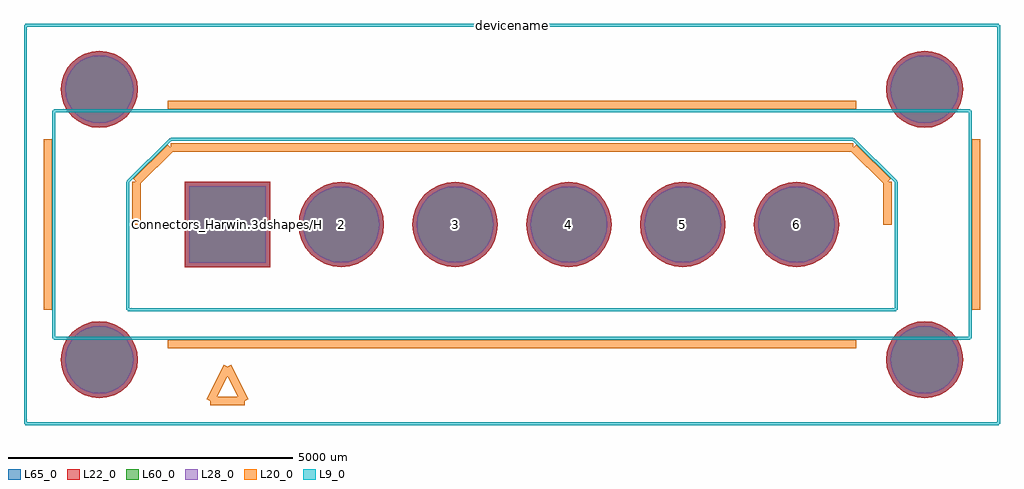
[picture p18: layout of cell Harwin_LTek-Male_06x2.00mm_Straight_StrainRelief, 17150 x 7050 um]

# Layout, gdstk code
import gdstk
lib = gdstk.Library(unit=1e-6, precision=1e-09)
def R(c, l, rs):  # rectangles x0, y0, x1, y1
    for r in rs: c.add(gdstk.rectangle(r[:2], r[2:], *l))
def P(c, l, *ps):  # polygons
    for p in ps: c.add(gdstk.Polygon(p, *l))
L9_0 = (9, 0)
L20_0 = (20, 0)
L22_0 = (22, 0)
L28_0 = (28, 0)
L60_0 = (60, 0)
L65_0 = (65, 0)

harwin_ltek_male_06x2_00 = lib.new_cell('Harwin_LTek-Male_06x2.00mm_Straight_StrainRelief')
R(harwin_ltek_male_06x2_00, L22_0, [(-750,-750,750,750)])
P(harwin_ltek_male_06x2_00, L22_0, [(12925,-2375),(12912.03,-2243.314),(12873.619,-2116.689),(12811.242,-1999.99),(12727.297,-1897.703),(12625.01,-1813.758),(12508.311,-1751.381),(12381.686,-1712.97),(12250,-1700),(12118.314,-1712.97),(11991.689,-1751.381),(11874.99,-1813.758),(11772.703,-1897.703),(11688.758,-1999.99),(11626.381,-2116.689),(11587.97,-2243.314),(11575,-2375),(11587.97,-2506.686),(11626.381,-2633.311),(11688.758,-2750.01),(11772.703,-2852.297),(11874.99,-2936.242),(11991.689,-2998.619),(12118.314,-3037.03),(12250,-3050),(12381.686,-3037.03),(12508.311,-2998.619),(12625.01,-2936.242),(12727.297,-2852.297),(12811.242,-2750.01),(12873.619,-2633.311),(12912.03,-2506.686)],
  [(12925,2375),(12912.03,2506.686),(12873.619,2633.311),(12811.242,2750.01),(12727.297,2852.297),(12625.01,2936.242),(12508.311,2998.619),(12381.686,3037.03),(12250,3050),(12118.314,3037.03),(11991.689,2998.619),(11874.99,2936.242),(11772.703,2852.297),(11688.758,2750.01),(11626.381,2633.311),(11587.97,2506.686),(11575,2375),(11587.97,2243.314),(11626.381,2116.689),(11688.758,1999.99),(11772.703,1897.703),(11874.99,1813.758),(11991.689,1751.381),(12118.314,1712.97),(12250,1700),(12381.686,1712.97),(12508.311,1751.381),(12625.01,1813.758),(12727.297,1897.703),(12811.242,1999.99),(12873.619,2116.689),(12912.03,2243.314)],
  [(-1575,-2375),(-1587.97,-2243.314),(-1626.381,-2116.689),(-1688.758,-1999.99),(-1772.703,-1897.703),(-1874.99,-1813.758),(-1991.689,-1751.381),(-2118.314,-1712.97),(-2250,-1700),(-2381.686,-1712.97),(-2508.311,-1751.381),(-2625.01,-1813.758),(-2727.297,-1897.703),(-2811.242,-1999.99),(-2873.619,-2116.689),(-2912.03,-2243.314),(-2925,-2375),(-2912.03,-2506.686),(-2873.619,-2633.311),(-2811.242,-2750.01),(-2727.297,-2852.297),(-2625.01,-2936.242),(-2508.311,-2998.619),(-2381.686,-3037.03),(-2250,-3050),(-2118.314,-3037.03),(-1991.689,-2998.619),(-1874.99,-2936.242),(-1772.703,-2852.297),(-1688.758,-2750.01),(-1626.381,-2633.311),(-1587.97,-2506.686)],
  [(-1575,2375),(-1587.97,2506.686),(-1626.381,2633.311),(-1688.758,2750.01),(-1772.703,2852.297),(-1874.99,2936.242),(-1991.689,2998.619),(-2118.314,3037.03),(-2250,3050),(-2381.686,3037.03),(-2508.311,2998.619),(-2625.01,2936.242),(-2727.297,2852.297),(-2811.242,2750.01),(-2873.619,2633.311),(-2912.03,2506.686),(-2925,2375),(-2912.03,2243.314),(-2873.619,2116.689),(-2811.242,1999.99),(-2727.297,1897.703),(-2625.01,1813.758),(-2508.311,1751.381),(-2381.686,1712.97),(-2250,1700),(-2118.314,1712.97),(-1991.689,1751.381),(-1874.99,1813.758),(-1772.703,1897.703),(-1688.758,1999.99),(-1626.381,2116.689),(-1587.97,2243.314)],
  [(10750,0),(10735.589,146.318),(10692.91,287.013),(10623.602,416.678),(10530.33,530.33),(10416.678,623.602),(10287.013,692.91),(10146.318,735.589),(10000,750),(9853.682,735.589),(9712.987,692.91),(9583.322,623.602),(9469.67,530.33),(9376.398,416.678),(9307.09,287.013),(9264.411,146.318),(9250,0),(9264.411,-146.318),(9307.09,-287.013),(9376.398,-416.678),(9469.67,-530.33),(9583.322,-623.602),(9712.987,-692.91),(9853.682,-735.589),(10000,-750),(10146.318,-735.589),(10287.013,-692.91),(10416.678,-623.602),(10530.33,-530.33),(10623.602,-416.678),(10692.91,-287.013),(10735.589,-146.318)],
  [(8750,0),(8735.589,146.318),(8692.91,287.013),(8623.602,416.678),(8530.33,530.33),(8416.678,623.602),(8287.013,692.91),(8146.318,735.589),(8000,750),(7853.682,735.589),(7712.987,692.91),(7583.322,623.602),(7469.67,530.33),(7376.398,416.678),(7307.09,287.013),(7264.411,146.318),(7250,0),(7264.411,-146.318),(7307.09,-287.013),(7376.398,-416.678),(7469.67,-530.33),(7583.322,-623.602),(7712.987,-692.91),(7853.682,-735.589),(8000,-750),(8146.318,-735.589),(8287.013,-692.91),(8416.678,-623.602),(8530.33,-530.33),(8623.602,-416.678),(8692.91,-287.013),(8735.589,-146.318)],
  [(6750,0),(6735.589,146.318),(6692.91,287.013),(6623.602,416.678),(6530.33,530.33),(6416.678,623.602),(6287.013,692.91),(6146.318,735.589),(6000,750),(5853.682,735.589),(5712.987,692.91),(5583.322,623.602),(5469.67,530.33),(5376.398,416.678),(5307.09,287.013),(5264.411,146.318),(5250,0),(5264.411,-146.318),(5307.09,-287.013),(5376.398,-416.678),(5469.67,-530.33),(5583.322,-623.602),(5712.987,-692.91),(5853.682,-735.589),(6000,-750),(6146.318,-735.589),(6287.013,-692.91),(6416.678,-623.602),(6530.33,-530.33),(6623.602,-416.678),(6692.91,-287.013),(6735.589,-146.318)],
  [(4750,0),(4735.589,146.318),(4692.91,287.013),(4623.602,416.678),(4530.33,530.33),(4416.678,623.602),(4287.013,692.91),(4146.318,735.589),(4000,750),(3853.682,735.589),(3712.987,692.91),(3583.322,623.602),(3469.67,530.33),(3376.398,416.678),(3307.09,287.013),(3264.411,146.318),(3250,0),(3264.411,-146.318),(3307.09,-287.013),(3376.398,-416.678),(3469.67,-530.33),(3583.322,-623.602),(3712.987,-692.91),(3853.682,-735.589),(4000,-750),(4146.318,-735.589),(4287.013,-692.91),(4416.678,-623.602),(4530.33,-530.33),(4623.602,-416.678),(4692.91,-287.013),(4735.589,-146.318)],
  [(2750,0),(2735.589,146.318),(2692.91,287.013),(2623.602,416.678),(2530.33,530.33),(2416.678,623.602),(2287.013,692.91),(2146.318,735.589),(2000,750),(1853.682,735.589),(1712.987,692.91),(1583.322,623.602),(1469.67,530.33),(1376.398,416.678),(1307.09,287.013),(1264.411,146.318),(1250,0),(1264.411,-146.318),(1307.09,-287.013),(1376.398,-416.678),(1469.67,-530.33),(1583.322,-623.602),(1712.987,-692.91),(1853.682,-735.589),(2000,-750),(2146.318,-735.589),(2287.013,-692.91),(2416.678,-623.602),(2530.33,-530.33),(2623.602,-416.678),(2692.91,-287.013),(2735.589,-146.318)])
R(harwin_ltek_male_06x2_00, L28_0, [(-675,-675,675,675)])
P(harwin_ltek_male_06x2_00, L28_0, [(12850,-2375),(12838.471,-2257.946),(12804.328,-2145.39),(12748.882,-2041.658),(12674.264,-1950.736),(12583.342,-1876.118),(12479.61,-1820.672),(12367.054,-1786.529),(12250,-1775),(12132.946,-1786.529),(12020.39,-1820.672),(11916.658,-1876.118),(11825.736,-1950.736),(11751.118,-2041.658),(11695.672,-2145.39),(11661.529,-2257.946),(11650,-2375),(11661.529,-2492.054),(11695.672,-2604.61),(11751.118,-2708.342),(11825.736,-2799.264),(11916.658,-2873.882),(12020.39,-2929.328),(12132.946,-2963.471),(12250,-2975),(12367.054,-2963.471),(12479.61,-2929.328),(12583.342,-2873.882),(12674.264,-2799.264),(12748.882,-2708.342),(12804.328,-2604.61),(12838.471,-2492.054)],
  [(12850,2375),(12838.471,2492.054),(12804.328,2604.61),(12748.882,2708.342),(12674.264,2799.264),(12583.342,2873.882),(12479.61,2929.328),(12367.054,2963.471),(12250,2975),(12132.946,2963.471),(12020.39,2929.328),(11916.658,2873.882),(11825.736,2799.264),(11751.118,2708.342),(11695.672,2604.61),(11661.529,2492.054),(11650,2375),(11661.529,2257.946),(11695.672,2145.39),(11751.118,2041.658),(11825.736,1950.736),(11916.658,1876.118),(12020.39,1820.672),(12132.946,1786.529),(12250,1775),(12367.054,1786.529),(12479.61,1820.672),(12583.342,1876.118),(12674.264,1950.736),(12748.882,2041.658),(12804.328,2145.39),(12838.471,2257.946)],
  [(-1650,-2375),(-1661.529,-2257.946),(-1695.672,-2145.39),(-1751.118,-2041.658),(-1825.736,-1950.736),(-1916.658,-1876.118),(-2020.39,-1820.672),(-2132.946,-1786.529),(-2250,-1775),(-2367.054,-1786.529),(-2479.61,-1820.672),(-2583.342,-1876.118),(-2674.264,-1950.736),(-2748.882,-2041.658),(-2804.328,-2145.39),(-2838.471,-2257.946),(-2850,-2375),(-2838.471,-2492.054),(-2804.328,-2604.61),(-2748.882,-2708.342),(-2674.264,-2799.264),(-2583.342,-2873.882),(-2479.61,-2929.328),(-2367.054,-2963.471),(-2250,-2975),(-2132.946,-2963.471),(-2020.39,-2929.328),(-1916.658,-2873.882),(-1825.736,-2799.264),(-1751.118,-2708.342),(-1695.672,-2604.61),(-1661.529,-2492.054)],
  [(-1650,2375),(-1661.529,2492.054),(-1695.672,2604.61),(-1751.118,2708.342),(-1825.736,2799.264),(-1916.658,2873.882),(-2020.39,2929.328),(-2132.946,2963.471),(-2250,2975),(-2367.054,2963.471),(-2479.61,2929.328),(-2583.342,2873.882),(-2674.264,2799.264),(-2748.882,2708.342),(-2804.328,2604.61),(-2838.471,2492.054),(-2850,2375),(-2838.471,2257.946),(-2804.328,2145.39),(-2748.882,2041.658),(-2674.264,1950.736),(-2583.342,1876.118),(-2479.61,1820.672),(-2367.054,1786.529),(-2250,1775),(-2132.946,1786.529),(-2020.39,1820.672),(-1916.658,1876.118),(-1825.736,1950.736),(-1751.118,2041.658),(-1695.672,2145.39),(-1661.529,2257.946)],
  [(10675,0),(10662.03,131.686),(10623.619,258.311),(10561.242,375.01),(10477.297,477.297),(10375.01,561.242),(10258.311,623.619),(10131.686,662.03),(10000,675),(9868.314,662.03),(9741.689,623.619),(9624.99,561.242),(9522.703,477.297),(9438.758,375.01),(9376.381,258.311),(9337.97,131.686),(9325,0),(9337.97,-131.686),(9376.381,-258.311),(9438.758,-375.01),(9522.703,-477.297),(9624.99,-561.242),(9741.689,-623.619),(9868.314,-662.03),(10000,-675),(10131.686,-662.03),(10258.311,-623.619),(10375.01,-561.242),(10477.297,-477.297),(10561.242,-375.01),(10623.619,-258.311),(10662.03,-131.686)],
  [(8675,0),(8662.03,131.686),(8623.619,258.311),(8561.242,375.01),(8477.297,477.297),(8375.01,561.242),(8258.311,623.619),(8131.686,662.03),(8000,675),(7868.314,662.03),(7741.689,623.619),(7624.99,561.242),(7522.703,477.297),(7438.758,375.01),(7376.381,258.311),(7337.97,131.686),(7325,0),(7337.97,-131.686),(7376.381,-258.311),(7438.758,-375.01),(7522.703,-477.297),(7624.99,-561.242),(7741.689,-623.619),(7868.314,-662.03),(8000,-675),(8131.686,-662.03),(8258.311,-623.619),(8375.01,-561.242),(8477.297,-477.297),(8561.242,-375.01),(8623.619,-258.311),(8662.03,-131.686)],
  [(6675,0),(6662.03,131.686),(6623.619,258.311),(6561.242,375.01),(6477.297,477.297),(6375.01,561.242),(6258.311,623.619),(6131.686,662.03),(6000,675),(5868.314,662.03),(5741.689,623.619),(5624.99,561.242),(5522.703,477.297),(5438.758,375.01),(5376.381,258.311),(5337.97,131.686),(5325,0),(5337.97,-131.686),(5376.381,-258.311),(5438.758,-375.01),(5522.703,-477.297),(5624.99,-561.242),(5741.689,-623.619),(5868.314,-662.03),(6000,-675),(6131.686,-662.03),(6258.311,-623.619),(6375.01,-561.242),(6477.297,-477.297),(6561.242,-375.01),(6623.619,-258.311),(6662.03,-131.686)],
  [(4675,0),(4662.03,131.686),(4623.619,258.311),(4561.242,375.01),(4477.297,477.297),(4375.01,561.242),(4258.311,623.619),(4131.686,662.03),(4000,675),(3868.314,662.03),(3741.689,623.619),(3624.99,561.242),(3522.703,477.297),(3438.758,375.01),(3376.381,258.311),(3337.97,131.686),(3325,0),(3337.97,-131.686),(3376.381,-258.311),(3438.758,-375.01),(3522.703,-477.297),(3624.99,-561.242),(3741.689,-623.619),(3868.314,-662.03),(4000,-675),(4131.686,-662.03),(4258.311,-623.619),(4375.01,-561.242),(4477.297,-477.297),(4561.242,-375.01),(4623.619,-258.311),(4662.03,-131.686)],
  [(2675,0),(2662.03,131.686),(2623.619,258.311),(2561.242,375.01),(2477.297,477.297),(2375.01,561.242),(2258.311,623.619),(2131.686,662.03),(2000,675),(1868.314,662.03),(1741.689,623.619),(1624.99,561.242),(1522.703,477.297),(1438.758,375.01),(1376.381,258.311),(1337.97,131.686),(1325,0),(1337.97,-131.686),(1376.381,-258.311),(1438.758,-375.01),(1522.703,-477.297),(1624.99,-561.242),(1741.689,-623.619),(1868.314,-662.03),(2000,-675),(2131.686,-662.03),(2258.311,-623.619),(2375.01,-561.242),(2477.297,-477.297),(2561.242,-375.01),(2623.619,-258.311),(2662.03,-131.686)])
R(harwin_ltek_male_06x2_00, L60_0, [(-675,-675,675,675)])
P(harwin_ltek_male_06x2_00, L60_0, [(12850,-2375),(12838.471,-2257.946),(12804.328,-2145.39),(12748.882,-2041.658),(12674.264,-1950.736),(12583.342,-1876.118),(12479.61,-1820.672),(12367.054,-1786.529),(12250,-1775),(12132.946,-1786.529),(12020.39,-1820.672),(11916.658,-1876.118),(11825.736,-1950.736),(11751.118,-2041.658),(11695.672,-2145.39),(11661.529,-2257.946),(11650,-2375),(11661.529,-2492.054),(11695.672,-2604.61),(11751.118,-2708.342),(11825.736,-2799.264),(11916.658,-2873.882),(12020.39,-2929.328),(12132.946,-2963.471),(12250,-2975),(12367.054,-2963.471),(12479.61,-2929.328),(12583.342,-2873.882),(12674.264,-2799.264),(12748.882,-2708.342),(12804.328,-2604.61),(12838.471,-2492.054)],
  [(12850,2375),(12838.471,2492.054),(12804.328,2604.61),(12748.882,2708.342),(12674.264,2799.264),(12583.342,2873.882),(12479.61,2929.328),(12367.054,2963.471),(12250,2975),(12132.946,2963.471),(12020.39,2929.328),(11916.658,2873.882),(11825.736,2799.264),(11751.118,2708.342),(11695.672,2604.61),(11661.529,2492.054),(11650,2375),(11661.529,2257.946),(11695.672,2145.39),(11751.118,2041.658),(11825.736,1950.736),(11916.658,1876.118),(12020.39,1820.672),(12132.946,1786.529),(12250,1775),(12367.054,1786.529),(12479.61,1820.672),(12583.342,1876.118),(12674.264,1950.736),(12748.882,2041.658),(12804.328,2145.39),(12838.471,2257.946)],
  [(-1650,-2375),(-1661.529,-2257.946),(-1695.672,-2145.39),(-1751.118,-2041.658),(-1825.736,-1950.736),(-1916.658,-1876.118),(-2020.39,-1820.672),(-2132.946,-1786.529),(-2250,-1775),(-2367.054,-1786.529),(-2479.61,-1820.672),(-2583.342,-1876.118),(-2674.264,-1950.736),(-2748.882,-2041.658),(-2804.328,-2145.39),(-2838.471,-2257.946),(-2850,-2375),(-2838.471,-2492.054),(-2804.328,-2604.61),(-2748.882,-2708.342),(-2674.264,-2799.264),(-2583.342,-2873.882),(-2479.61,-2929.328),(-2367.054,-2963.471),(-2250,-2975),(-2132.946,-2963.471),(-2020.39,-2929.328),(-1916.658,-2873.882),(-1825.736,-2799.264),(-1751.118,-2708.342),(-1695.672,-2604.61),(-1661.529,-2492.054)],
  [(-1650,2375),(-1661.529,2492.054),(-1695.672,2604.61),(-1751.118,2708.342),(-1825.736,2799.264),(-1916.658,2873.882),(-2020.39,2929.328),(-2132.946,2963.471),(-2250,2975),(-2367.054,2963.471),(-2479.61,2929.328),(-2583.342,2873.882),(-2674.264,2799.264),(-2748.882,2708.342),(-2804.328,2604.61),(-2838.471,2492.054),(-2850,2375),(-2838.471,2257.946),(-2804.328,2145.39),(-2748.882,2041.658),(-2674.264,1950.736),(-2583.342,1876.118),(-2479.61,1820.672),(-2367.054,1786.529),(-2250,1775),(-2132.946,1786.529),(-2020.39,1820.672),(-1916.658,1876.118),(-1825.736,1950.736),(-1751.118,2041.658),(-1695.672,2145.39),(-1661.529,2257.946)],
  [(10675,0),(10662.03,131.686),(10623.619,258.311),(10561.242,375.01),(10477.297,477.297),(10375.01,561.242),(10258.311,623.619),(10131.686,662.03),(10000,675),(9868.314,662.03),(9741.689,623.619),(9624.99,561.242),(9522.703,477.297),(9438.758,375.01),(9376.381,258.311),(9337.97,131.686),(9325,0),(9337.97,-131.686),(9376.381,-258.311),(9438.758,-375.01),(9522.703,-477.297),(9624.99,-561.242),(9741.689,-623.619),(9868.314,-662.03),(10000,-675),(10131.686,-662.03),(10258.311,-623.619),(10375.01,-561.242),(10477.297,-477.297),(10561.242,-375.01),(10623.619,-258.311),(10662.03,-131.686)],
  [(8675,0),(8662.03,131.686),(8623.619,258.311),(8561.242,375.01),(8477.297,477.297),(8375.01,561.242),(8258.311,623.619),(8131.686,662.03),(8000,675),(7868.314,662.03),(7741.689,623.619),(7624.99,561.242),(7522.703,477.297),(7438.758,375.01),(7376.381,258.311),(7337.97,131.686),(7325,0),(7337.97,-131.686),(7376.381,-258.311),(7438.758,-375.01),(7522.703,-477.297),(7624.99,-561.242),(7741.689,-623.619),(7868.314,-662.03),(8000,-675),(8131.686,-662.03),(8258.311,-623.619),(8375.01,-561.242),(8477.297,-477.297),(8561.242,-375.01),(8623.619,-258.311),(8662.03,-131.686)],
  [(6675,0),(6662.03,131.686),(6623.619,258.311),(6561.242,375.01),(6477.297,477.297),(6375.01,561.242),(6258.311,623.619),(6131.686,662.03),(6000,675),(5868.314,662.03),(5741.689,623.619),(5624.99,561.242),(5522.703,477.297),(5438.758,375.01),(5376.381,258.311),(5337.97,131.686),(5325,0),(5337.97,-131.686),(5376.381,-258.311),(5438.758,-375.01),(5522.703,-477.297),(5624.99,-561.242),(5741.689,-623.619),(5868.314,-662.03),(6000,-675),(6131.686,-662.03),(6258.311,-623.619),(6375.01,-561.242),(6477.297,-477.297),(6561.242,-375.01),(6623.619,-258.311),(6662.03,-131.686)],
  [(4675,0),(4662.03,131.686),(4623.619,258.311),(4561.242,375.01),(4477.297,477.297),(4375.01,561.242),(4258.311,623.619),(4131.686,662.03),(4000,675),(3868.314,662.03),(3741.689,623.619),(3624.99,561.242),(3522.703,477.297),(3438.758,375.01),(3376.381,258.311),(3337.97,131.686),(3325,0),(3337.97,-131.686),(3376.381,-258.311),(3438.758,-375.01),(3522.703,-477.297),(3624.99,-561.242),(3741.689,-623.619),(3868.314,-662.03),(4000,-675),(4131.686,-662.03),(4258.311,-623.619),(4375.01,-561.242),(4477.297,-477.297),(4561.242,-375.01),(4623.619,-258.311),(4662.03,-131.686)],
  [(2675,0),(2662.03,131.686),(2623.619,258.311),(2561.242,375.01),(2477.297,477.297),(2375.01,561.242),(2258.311,623.619),(2131.686,662.03),(2000,675),(1868.314,662.03),(1741.689,623.619),(1624.99,561.242),(1522.703,477.297),(1438.758,375.01),(1376.381,258.311),(1337.97,131.686),(1325,0),(1337.97,-131.686),(1376.381,-258.311),(1438.758,-375.01),(1522.703,-477.297),(1624.99,-561.242),(1741.689,-623.619),(1868.314,-662.03),(2000,-675),(2131.686,-662.03),(2258.311,-623.619),(2375.01,-561.242),(2477.297,-477.297),(2561.242,-375.01),(2623.619,-258.311),(2662.03,-131.686)])
R(harwin_ltek_male_06x2_00, L65_0, [(-750,-750,750,750)])
P(harwin_ltek_male_06x2_00, L65_0, [(12925,-2375),(12912.03,-2243.314),(12873.619,-2116.689),(12811.242,-1999.99),(12727.297,-1897.703),(12625.01,-1813.758),(12508.311,-1751.381),(12381.686,-1712.97),(12250,-1700),(12118.314,-1712.97),(11991.689,-1751.381),(11874.99,-1813.758),(11772.703,-1897.703),(11688.758,-1999.99),(11626.381,-2116.689),(11587.97,-2243.314),(11575,-2375),(11587.97,-2506.686),(11626.381,-2633.311),(11688.758,-2750.01),(11772.703,-2852.297),(11874.99,-2936.242),(11991.689,-2998.619),(12118.314,-3037.03),(12250,-3050),(12381.686,-3037.03),(12508.311,-2998.619),(12625.01,-2936.242),(12727.297,-2852.297),(12811.242,-2750.01),(12873.619,-2633.311),(12912.03,-2506.686)],
  [(12925,2375),(12912.03,2506.686),(12873.619,2633.311),(12811.242,2750.01),(12727.297,2852.297),(12625.01,2936.242),(12508.311,2998.619),(12381.686,3037.03),(12250,3050),(12118.314,3037.03),(11991.689,2998.619),(11874.99,2936.242),(11772.703,2852.297),(11688.758,2750.01),(11626.381,2633.311),(11587.97,2506.686),(11575,2375),(11587.97,2243.314),(11626.381,2116.689),(11688.758,1999.99),(11772.703,1897.703),(11874.99,1813.758),(11991.689,1751.381),(12118.314,1712.97),(12250,1700),(12381.686,1712.97),(12508.311,1751.381),(12625.01,1813.758),(12727.297,1897.703),(12811.242,1999.99),(12873.619,2116.689),(12912.03,2243.314)],
  [(-1575,-2375),(-1587.97,-2243.314),(-1626.381,-2116.689),(-1688.758,-1999.99),(-1772.703,-1897.703),(-1874.99,-1813.758),(-1991.689,-1751.381),(-2118.314,-1712.97),(-2250,-1700),(-2381.686,-1712.97),(-2508.311,-1751.381),(-2625.01,-1813.758),(-2727.297,-1897.703),(-2811.242,-1999.99),(-2873.619,-2116.689),(-2912.03,-2243.314),(-2925,-2375),(-2912.03,-2506.686),(-2873.619,-2633.311),(-2811.242,-2750.01),(-2727.297,-2852.297),(-2625.01,-2936.242),(-2508.311,-2998.619),(-2381.686,-3037.03),(-2250,-3050),(-2118.314,-3037.03),(-1991.689,-2998.619),(-1874.99,-2936.242),(-1772.703,-2852.297),(-1688.758,-2750.01),(-1626.381,-2633.311),(-1587.97,-2506.686)],
  [(-1575,2375),(-1587.97,2506.686),(-1626.381,2633.311),(-1688.758,2750.01),(-1772.703,2852.297),(-1874.99,2936.242),(-1991.689,2998.619),(-2118.314,3037.03),(-2250,3050),(-2381.686,3037.03),(-2508.311,2998.619),(-2625.01,2936.242),(-2727.297,2852.297),(-2811.242,2750.01),(-2873.619,2633.311),(-2912.03,2506.686),(-2925,2375),(-2912.03,2243.314),(-2873.619,2116.689),(-2811.242,1999.99),(-2727.297,1897.703),(-2625.01,1813.758),(-2508.311,1751.381),(-2381.686,1712.97),(-2250,1700),(-2118.314,1712.97),(-1991.689,1751.381),(-1874.99,1813.758),(-1772.703,1897.703),(-1688.758,1999.99),(-1626.381,2116.689),(-1587.97,2243.314)],
  [(10750,0),(10735.589,146.318),(10692.91,287.013),(10623.602,416.678),(10530.33,530.33),(10416.678,623.602),(10287.013,692.91),(10146.318,735.589),(10000,750),(9853.682,735.589),(9712.987,692.91),(9583.322,623.602),(9469.67,530.33),(9376.398,416.678),(9307.09,287.013),(9264.411,146.318),(9250,0),(9264.411,-146.318),(9307.09,-287.013),(9376.398,-416.678),(9469.67,-530.33),(9583.322,-623.602),(9712.987,-692.91),(9853.682,-735.589),(10000,-750),(10146.318,-735.589),(10287.013,-692.91),(10416.678,-623.602),(10530.33,-530.33),(10623.602,-416.678),(10692.91,-287.013),(10735.589,-146.318)],
  [(8750,0),(8735.589,146.318),(8692.91,287.013),(8623.602,416.678),(8530.33,530.33),(8416.678,623.602),(8287.013,692.91),(8146.318,735.589),(8000,750),(7853.682,735.589),(7712.987,692.91),(7583.322,623.602),(7469.67,530.33),(7376.398,416.678),(7307.09,287.013),(7264.411,146.318),(7250,0),(7264.411,-146.318),(7307.09,-287.013),(7376.398,-416.678),(7469.67,-530.33),(7583.322,-623.602),(7712.987,-692.91),(7853.682,-735.589),(8000,-750),(8146.318,-735.589),(8287.013,-692.91),(8416.678,-623.602),(8530.33,-530.33),(8623.602,-416.678),(8692.91,-287.013),(8735.589,-146.318)],
  [(6750,0),(6735.589,146.318),(6692.91,287.013),(6623.602,416.678),(6530.33,530.33),(6416.678,623.602),(6287.013,692.91),(6146.318,735.589),(6000,750),(5853.682,735.589),(5712.987,692.91),(5583.322,623.602),(5469.67,530.33),(5376.398,416.678),(5307.09,287.013),(5264.411,146.318),(5250,0),(5264.411,-146.318),(5307.09,-287.013),(5376.398,-416.678),(5469.67,-530.33),(5583.322,-623.602),(5712.987,-692.91),(5853.682,-735.589),(6000,-750),(6146.318,-735.589),(6287.013,-692.91),(6416.678,-623.602),(6530.33,-530.33),(6623.602,-416.678),(6692.91,-287.013),(6735.589,-146.318)],
  [(4750,0),(4735.589,146.318),(4692.91,287.013),(4623.602,416.678),(4530.33,530.33),(4416.678,623.602),(4287.013,692.91),(4146.318,735.589),(4000,750),(3853.682,735.589),(3712.987,692.91),(3583.322,623.602),(3469.67,530.33),(3376.398,416.678),(3307.09,287.013),(3264.411,146.318),(3250,0),(3264.411,-146.318),(3307.09,-287.013),(3376.398,-416.678),(3469.67,-530.33),(3583.322,-623.602),(3712.987,-692.91),(3853.682,-735.589),(4000,-750),(4146.318,-735.589),(4287.013,-692.91),(4416.678,-623.602),(4530.33,-530.33),(4623.602,-416.678),(4692.91,-287.013),(4735.589,-146.318)],
  [(2750,0),(2735.589,146.318),(2692.91,287.013),(2623.602,416.678),(2530.33,530.33),(2416.678,623.602),(2287.013,692.91),(2146.318,735.589),(2000,750),(1853.682,735.589),(1712.987,692.91),(1583.322,623.602),(1469.67,530.33),(1376.398,416.678),(1307.09,287.013),(1264.411,146.318),(1250,0),(1264.411,-146.318),(1307.09,-287.013),(1376.398,-416.678),(1469.67,-530.33),(1583.322,-623.602),(1712.987,-692.91),(1853.682,-735.589),(2000,-750),(2146.318,-735.589),(2287.013,-692.91),(2416.678,-623.602),(2530.33,-530.33),(2623.602,-416.678),(2692.91,-287.013),(2735.589,-146.318)])
harwin_ltek_male_06x2_00.add(gdstk.FlexPath([(300,-3100),(0,-2500)], 149.998, ends="flush", simple_path=True, layer=20, datatype=0))  # L20_0
harwin_ltek_male_06x2_00.add(gdstk.FlexPath([(-300,-3100),(300,-3100)], 149.998, ends="flush", simple_path=True, layer=20, datatype=0))  # L20_0
harwin_ltek_male_06x2_00.add(gdstk.FlexPath([(0,-2500),(-300,-3100)], 149.998, ends="flush", simple_path=True, layer=20, datatype=0))  # L20_0
harwin_ltek_male_06x2_00.add(gdstk.FlexPath([(11000,1350),(5000,1350)], 149.998, ends="flush", simple_path=True, layer=20, datatype=0))  # L20_0
harwin_ltek_male_06x2_00.add(gdstk.FlexPath([(11600,750),(11000,1350)], 149.998, ends="flush", simple_path=True, layer=20, datatype=0))  # L20_0
harwin_ltek_male_06x2_00.add(gdstk.FlexPath([(11600,0),(11600,750)], 149.998, ends="flush", simple_path=True, layer=20, datatype=0))  # L20_0
harwin_ltek_male_06x2_00.add(gdstk.FlexPath([(-1000,1350),(5000,1350)], 149.998, ends="flush", simple_path=True, layer=20, datatype=0))  # L20_0
harwin_ltek_male_06x2_00.add(gdstk.FlexPath([(-1600,750),(-1000,1350)], 149.998, ends="flush", simple_path=True, layer=20, datatype=0))  # L20_0
harwin_ltek_male_06x2_00.add(gdstk.FlexPath([(-1600,0),(-1600,750)], 149.998, ends="flush", simple_path=True, layer=20, datatype=0))  # L20_0
harwin_ltek_male_06x2_00.add(gdstk.FlexPath([(11750,-1500),(-1750,-1500)], 50, ends="flush", simple_path=True, layer=9, datatype=0))  # L9_0
harwin_ltek_male_06x2_00.add(gdstk.FlexPath([(11750,750),(11750,-1500)], 50, ends="flush", simple_path=True, layer=9, datatype=0))  # L9_0
harwin_ltek_male_06x2_00.add(gdstk.FlexPath([(11000,1500),(11750,750)], 50, ends="flush", simple_path=True, layer=9, datatype=0))  # L9_0
harwin_ltek_male_06x2_00.add(gdstk.FlexPath([(-1000,1500),(11000,1500)], 50, ends="flush", simple_path=True, layer=9, datatype=0))  # L9_0
harwin_ltek_male_06x2_00.add(gdstk.FlexPath([(-1750,750),(-1000,1500)], 50, ends="flush", simple_path=True, layer=9, datatype=0))  # L9_0
harwin_ltek_male_06x2_00.add(gdstk.FlexPath([(-1750,-1500),(-1750,750)], 50, ends="flush", simple_path=True, layer=9, datatype=0))  # L9_0
harwin_ltek_male_06x2_00.add(gdstk.FlexPath([(13050,2000),(-3050,2000)], 50, ends="flush", simple_path=True, layer=9, datatype=0))  # L9_0
harwin_ltek_male_06x2_00.add(gdstk.FlexPath([(13050,-2000),(13050,2000)], 50, ends="flush", simple_path=True, layer=9, datatype=0))  # L9_0
harwin_ltek_male_06x2_00.add(gdstk.FlexPath([(-3050,-2000),(13050,-2000)], 50, ends="flush", simple_path=True, layer=9, datatype=0))  # L9_0
harwin_ltek_male_06x2_00.add(gdstk.FlexPath([(-3050,2000),(-3050,-2000)], 50, ends="flush", simple_path=True, layer=9, datatype=0))  # L9_0
harwin_ltek_male_06x2_00.add(gdstk.FlexPath([(13550,3500),(-3550,3500)], 50, ends="flush", simple_path=True, layer=9, datatype=0))  # L9_0
harwin_ltek_male_06x2_00.add(gdstk.FlexPath([(13550,-3500),(13550,3500)], 50, ends="flush", simple_path=True, layer=9, datatype=0))  # L9_0
harwin_ltek_male_06x2_00.add(gdstk.FlexPath([(-3550,-3500),(13550,-3500)], 50, ends="flush", simple_path=True, layer=9, datatype=0))  # L9_0
harwin_ltek_male_06x2_00.add(gdstk.FlexPath([(-3550,3500),(-3550,-3500)], 50, ends="flush", simple_path=True, layer=9, datatype=0))  # L9_0
harwin_ltek_male_06x2_00.add(gdstk.FlexPath([(13150,1500),(13150,-1500)], 149.998, ends="flush", simple_path=True, layer=20, datatype=0))  # L20_0
harwin_ltek_male_06x2_00.add(gdstk.FlexPath([(-3150,1500),(-3150,-1500)], 149.998, ends="flush", simple_path=True, layer=20, datatype=0))  # L20_0
harwin_ltek_male_06x2_00.add(gdstk.FlexPath([(-1050,-2100),(11050,-2100)], 149.998, ends="flush", simple_path=True, layer=20, datatype=0))  # L20_0
harwin_ltek_male_06x2_00.add(gdstk.FlexPath([(-1050,2100),(11050,2100)], 149.998, ends="flush", simple_path=True, layer=20, datatype=0))  # L20_0
harwin_ltek_male_06x2_00.add(gdstk.Label('Connectors_Harwin.3dshapes/Harwin_LTek-Male_06x2.00mm_Straight_StrainRelief.wrl', (0,0), layer=12, texttype=0))
harwin_ltek_male_06x2_00.add(gdstk.Label('6', (10000,0), layer=28, texttype=0))
harwin_ltek_male_06x2_00.add(gdstk.Label('5', (8000,0), layer=28, texttype=0))
harwin_ltek_male_06x2_00.add(gdstk.Label('4', (6000,0), layer=28, texttype=0))
harwin_ltek_male_06x2_00.add(gdstk.Label('3', (4000,0), layer=28, texttype=0))
harwin_ltek_male_06x2_00.add(gdstk.Label('2', (2000,0), layer=28, texttype=0))
harwin_ltek_male_06x2_00.add(gdstk.Label('1', (0,0), layer=28, texttype=0))
harwin_ltek_male_06x2_00.add(gdstk.Label('type', (5000,-4000), layer=9, texttype=0))
harwin_ltek_male_06x2_00.add(gdstk.Label('devicename', (5000,3500), layer=9, texttype=0))

lib.write_gds('Harwin_LTek-Male_06x2.00mm_Straight_StrainRelief.gds')
